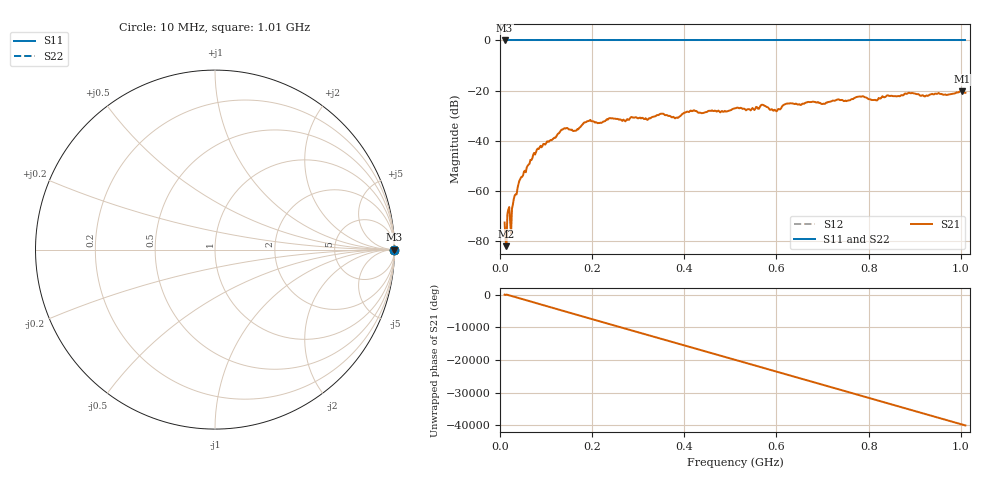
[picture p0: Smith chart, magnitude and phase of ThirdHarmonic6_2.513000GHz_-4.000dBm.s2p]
! 8/17/2025 4:53:45 AM
! C:\ANRITSUVNA\TEMP\TEMP.S2P
! CHANNEL.1
! TR.MEASUREMENT
! RAW.DATA
! RF.CORRECTION.OFF
! AVERAGING.OFF
! IF.BANDWIDTH: 5KHZ
! SWEEPTYPE:  FREQ.SWEEP(Linear)
! Reference Plane Port Info
! PORT:  PORT1  PORT2
! DISTANCE:  0  m  0  m
! TIME:  0  s  0  s
! PHASE.OFFSET:  0  deg.  0  deg.
! LOSS:  0  dB  0  dB
! REF.LOSS:  0  dB  0  dB
! REF.FREQ:  0  Hz  0  Hz
! Power Info
! POWER:  -20  dBm  -20  dBm
! EFF.POWER:  -20  dBm  -20  dBm
! SOURCE.ATTEN:  0  dB  0  dB
! TEST.ATTEN:  0  dB  0  dB
# GHZ S RI R 50.0
! FREQ.GHZ  S11RE  S11IM  S21RE  S21IM  S12RE  S12IM  S22RE  S22IM
!; PortSelection: Port_12
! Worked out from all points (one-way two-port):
!   501 points, 10 MHz to 1.01 GHz, reference 50 ohm
!   highest |S21| = -20.28 dB at 1.002 GHz (marker M1); lowest = -82.2 dB at 14 MHz (marker M2)
!   lowest |S11| = 0.0 dB at 10 MHz (marker M3)
!   |S11| at or under -10 dB: nowhere
!   |S22| runs from 0.0 to 0.0 dB; largest |S21 - S12| = 1.1
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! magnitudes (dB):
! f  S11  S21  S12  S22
! 10 MHz  0.0  -72.8  0.0  0.0
! 14 MHz  0.0  -82.2  0.0  0.0
! 26 MHz  0.0  -67.3  0.0  0.0
! 30 MHz  0.0  -63.3  0.0  0.0
! 42 MHz  0.0  -56.1  0.0  0.0
! 78 MHz  0.0  -44.7  0.0  0.0
! 136 MHz  0.0  -35.6  0.0  0.0
! 162 MHz  0.0  -36.1  0.0  0.0
! 178 MHz  0.0  -33.8  0.0  0.0
! 344 MHz  0.0  -29.8  0.0  0.0
! 382 MHz  0.0  -30.9  0.0  0.0
! 416 MHz  0.0  -28.2  0.0  0.0
! 510 MHz  0.0  -27.1  0.0  0.0
! 570 MHz  0.0  -25.7  0.0  0.0
! 598 MHz  0.0  -27.9  0.0  0.0
! 622 MHz  0.0  -25.2  0.0  0.0
! 678 MHz  0.0  -24.5  0.0  0.0
! 784 MHz  0.0  -22.5  0.0  0.0
! 814 MHz  0.0  -23.7  0.0  0.0
! 844 MHz  0.0  -22.1  0.0  0.0
! 1.002 GHz  0.0  -20.3  0.0  0.0
! 1.01 GHz  0.0  -20.9  0.0  0.0
